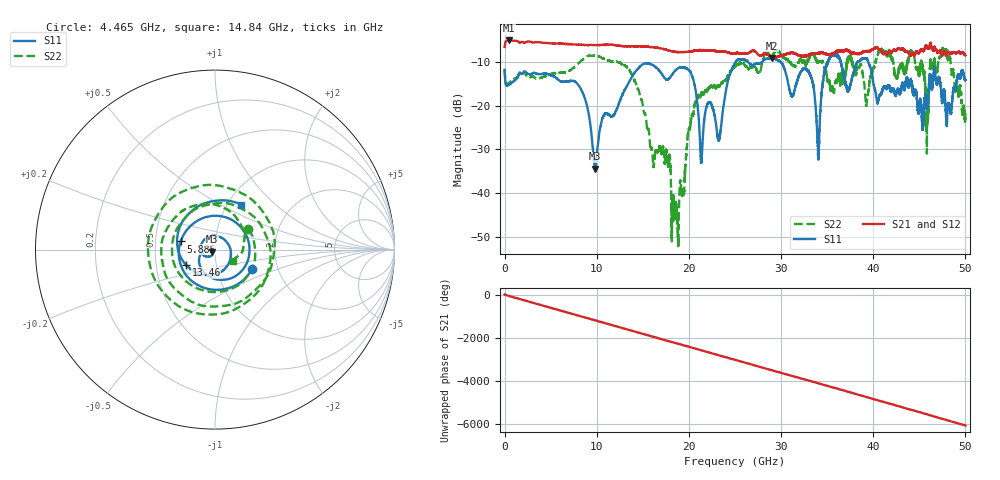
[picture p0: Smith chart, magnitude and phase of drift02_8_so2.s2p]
!Created with skrf (http://scikit-rf.org).
# Hz S RI R 50.0
!freq ReS11 ImS11 ReS21 ImS21 ReS12 ImS12 ReS22 ImS22
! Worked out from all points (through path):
!   10001 points, 300 kHz to 50 GHz, reference 50 ohm
!   highest |S21| = -5.04 dB at 430.3 MHz (marker M1); lowest = -9.0 dB at 29.05 GHz (marker M2)
!   group delay of S21, straight-line fit = 336 ps
!   lowest |S11| = -34.4 dB at 9.84 GHz (marker M3), VSWR 1.04, Z = 48.5 - j1.06 ohm
!   |S11| at or under -10 dB: start of sweep to 25.06 GHz; 29.98 GHz to 35.07 GHz (5.087 GHz wide, 15.6 % of centre); 39.47 GHz to end of sweep (the widest 3 of 11)
!   |S22| runs from -52.2 to -6.6 dB; largest |S21 - S12| = 0.019
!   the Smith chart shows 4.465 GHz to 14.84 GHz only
!   S11 on the Smith chart (normalised r, x): 4.465 GHz: 1.47, -0.34; 5.885 GHz: 0.68, +0.06; 13.46 GHz: 0.71, -0.12; 14.84 GHz: 1.15, +0.63
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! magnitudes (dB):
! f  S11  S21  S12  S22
! 300 kHz  -11.8  -6.5  -6.4  -11.6
! 430.3 MHz  -15.2  -5.0  -5.1  -14.8
! 4.465 GHz  -12.6  -5.6  -5.6  -13.2
! 5.885 GHz  -14.1  -5.7  -5.7  -12.5
! 8.335 GHz  -16.4  -6.1  -6.0  -9.6
! 9.84 GHz  -34.4  -6.1  -6.1  -8.6
! 13.46 GHz  -14.7  -6.4  -6.4  -11.6
! 14.84 GHz  -10.8  -6.4  -6.4  -18.6
! 16.67 GHz  -11.7  -6.7  -6.7  -30.3
! 18.66 GHz  -11.7  -7.7  -7.7  -44.0
! 20.37 GHz  -13.3  -7.5  -7.5  -22.0
! 21.36 GHz  -32.4  -7.2  -7.3  -17.1
! 23.3 GHz  -27.7  -7.6  -7.6  -15.6
! 25 GHz  -10.3  -8.0  -8.0  -11.1
! 29.05 GHz  -9.1  -9.0  -9.0  -8.3
! 33.34 GHz  -14.0  -8.1  -8.2  -8.1
! 34.02 GHz  -31.7  -7.9  -8.0  -10.2
! 35.52 GHz  -8.5  -8.2  -8.1  -15.9
! 41.67 GHz  -15.3  -7.7  -7.8  -7.5
! 45.86 GHz  -20.8  -6.7  -6.8  -21.0
! 47.76 GHz  -17.2  -7.5  -7.6  -7.2
! 50 GHz  -14.1  -8.5  -8.5  -21.6
